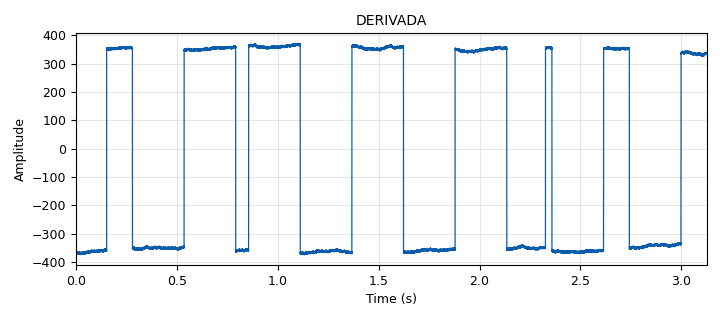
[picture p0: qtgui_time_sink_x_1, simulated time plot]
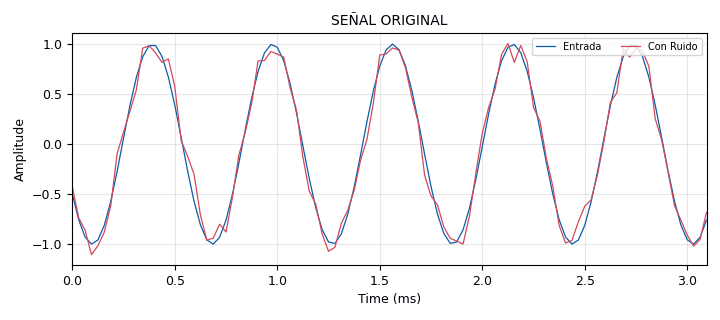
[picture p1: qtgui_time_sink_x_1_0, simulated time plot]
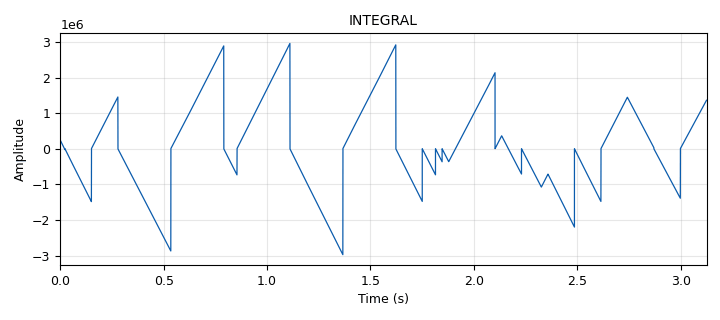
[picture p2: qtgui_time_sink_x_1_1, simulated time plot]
options:
  parameters:
    generate_options: qt_gui
    id: PRUEBA_I
    output_language: python
    title: Not titled yet
  states: {}

blocks:
- name: samp_rate
  id: variable
  parameters:
    value: '32000'
  states: {}
- name: Medidas
  id: qtgui_number_sink
  parameters:
    alias: '"Acumulador"'
    color2: ("blue", "red")
    graph_type: qtgui.NUM_GRAPH_HORIZ
    label1: Media
    label2: Media cuadràtica
    label3: RMS
    label4: Potencia Promedio
    label5: Desviaciòn Estàndar
    max: '10000'
    min: '-10000'
    nconnections: '5'
    type: float
  states: {state: disabled}
- name: Medidas_1
  id: qtgui_number_sink
  parameters:
    alias: '"Acumulador"'
    color2: ("blue", "red")
    graph_type: qtgui.NUM_GRAPH_HORIZ
    label1: Mediar
    label2: Media cuadràticar
    label3: RMSr
    label4: Potencia Promedior
    label5: Desviaciòn Estàndarr
    max: '10000'
    min: '-10000'
    name: '"1"'
    nconnections: '5'
    type: float
  states: {}
- name: analog_noise_source_x_0
  id: analog_noise_source_x
  parameters:
    amp: '0.1'
    noise_type: analog.GR_GAUSSIAN
    seed: '0'
    type: float
  states: {}
- name: analog_sig_source_x_0
  id: analog_sig_source_x
  parameters:
    amp: '1'
    freq: '3200'
    offset: '0'
    phase: '0'
    samp_rate: '60000'
    type: float
    waveform: analog.GR_COS_WAVE
  states: {}
- name: blocks_add_xx_0
  id: blocks_add_xx
  parameters:
    type: float
  states: {}
- name: blocks_throttle_0
  id: blocks_throttle
  parameters:
    samples_per_second: samp_rate
    type: float
  states: {state: disabled}
- name: blocks_vector_source_x_0
  id: blocks_vector_source_x
  parameters:
    repeat: 'True'
    type: float
    vector: (0,0,1)
  states: {state: disabled}
- name: epy_block_0
  id: epy_block
  parameters:
    _source_code: |
      """
      Embedded Python Blocks:

      Each time this file is saved, GRC will instantiate the first class it finds
      to get ports and parameters of your block. The arguments to __init__  will
      be the parameters. All of them are required to have default values!
      """

      import numpy as np
      from gnuradio import gr

      class blk (gr. sync_block ):
      	def __init__ ( self ) : # only default arguments here
      		gr. sync_block . __init__ (
      			self ,
      			name ="e_Acum ", # will show up in GRC
      			in_sig =[ np. float32 ],
      			out_sig =[ np. float32 ]
      		)
      	def work (self , input_items , output_items ):
      		x = input_items [0] # Senial de entrada .
      		y0 = output_items [0] # Senial acumulada
      		y0 [:] = np. cumsum (x)
      		#y0 [:] = len(x)
      		return len(y0)
  states: {}
- name: epy_block_0_0
  id: epy_block
  parameters:
    _source_code: |
      """
      Embedded Python Blocks:

      Each time this file is saved, GRC will instantiate the first class it finds
      to get ports and parameters of your block. The arguments to __init__  will
      be the parameters. All of them are required to have default values!
      """

      import numpy as np
      from gnuradio import gr
      class blk (gr. sync_block ):
      	def __init__ ( self ) : # only default arguments here
      		gr. sync_block . __init__ (
      			self ,
      			name ="Promedios_de_tiempos", # will show up in GRC
      			in_sig =[ np. float32 ],
      			out_sig =[ np. float32 ,np. float32 ,np. float32 ,np. float32 ,np. float32 ]
      		)
      		self . acum_anterior = 0
      		self . Ntotales = 0
      		self . acum_anterior1 = 0
      		self . acum_anterior2 = 0
      	def work (self , input_items , output_items ):
      		x = input_items [0] # Senial de entrada .
      		y0 = output_items [0] # Promedio de la senial
      		y1 = output_items [1] # Media de la senial
      		y2 = output_items [2] # RMS de la senial
      		y3 = output_items [3] # Potencia promedio de la senial
      		y4 = output_items [4] # Desviacion estandar de la senial
      		# Calculo del promedio
      		N = len (x)
      		self . Ntotales = self . Ntotales + N
      		acumulado = self . acum_anterior + np. cumsum (x)
      		self . acum_anterior = acumulado [N -1]
      		y0 [:]= acumulado / self . Ntotales
      		# Calculo de la media cuadratica
      		x2=np. multiply (x,x)
      		acumulado1 = self . acum_anterior1 + np. cumsum (x2)
      		self . acum_anterior1 = acumulado [N -1]
      		y1 [:] = acumulado1 / self . Ntotales
      		# Calculo de la RMS
      		y2 [:] = np. sqrt (y1)
      		# Calculo de la potencia promedio
      		y3 [:] = np. multiply (y2 ,y2)
      		# Calculo de la desviacion estandar
      		x3 = np. multiply (x-y0 ,x-y0)
      		acumulado2 = self . acum_anterior2 + np. cumsum (x3)
      		self . acum_anterior2 = acumulado2 [N -1]
      		y4 [:] = np. sqrt ( acumulado2 / self . Ntotales )
      		return len (x)
  states: {state: disabled}
- name: epy_block_0_0_0
  id: epy_block
  parameters:
    _source_code: |
      """
      Embedded Python Blocks:

      Each time this file is saved, GRC will instantiate the first class it finds
      to get ports and parameters of your block. The arguments to __init__  will
      be the parameters. All of them are required to have default values!
      """

      import numpy as np
      from gnuradio import gr
      class blk (gr. sync_block ):
      	def __init__ ( self ) : # only default arguments here
      		gr. sync_block . __init__ (
      			self ,
      			name ="Promedios_de_tiempos", # will show up in GRC
      			in_sig =[ np. float32 ],
      			out_sig =[ np. float32 ,np. float32 ,np. float32 ,np. float32 ,np. float32 ]
      		)
      		self . acum_anterior = 0
      		self . Ntotales = 0
      		self . acum_anterior1 = 0
      		self . acum_anterior2 = 0
      	def work (self , input_items , output_items ):
      		x = input_items [0] # Senial de entrada .
      		y0 = output_items [0] # Promedio de la senial
      		y1 = output_items [1] # Media de la senial
      		y2 = output_items [2] # RMS de la senial
      		y3 = output_items [3] # Potencia promedio de la senial
      		y4 = output_items [4] # Desviacion estandar de la senial
      		# Calculo del promedio
      		N = len (x)
      		self . Ntotales = self . Ntotales + N
      		acumulado = self . acum_anterior + np. cumsum (x)
      		self . acum_anterior = acumulado [N -1]
      		y0 [:]= acumulado / self . Ntotales
      		# Calculo de la media cuadratica
      		x2=np. multiply (x,x)
      		acumulado1 = self . acum_anterior1 + np. cumsum (x2)
      		self . acum_anterior1 = acumulado [N -1]
      		y1 [:] = acumulado1 / self . Ntotales
      		# Calculo de la RMS
      		y2 [:] = np. sqrt (y1)
      		# Calculo de la potencia promedio
      		y3 [:] = np. multiply (y2 ,y2)
      		# Calculo de la desviacion estandar
      		x3 = np. multiply (x-y0 ,x-y0)
      		acumulado2 = self . acum_anterior2 + np. cumsum (x3)
      		self . acum_anterior2 = acumulado2 [N -1]
      		y4 [:] = np. sqrt ( acumulado2 / self . Ntotales )
      		return len (x)
  states: {}
- name: epy_block_1_0
  id: epy_block
  parameters:
    _source_code: |
      """
      Embedded Python Blocks:

      Each time this file is saved, GRC will instantiate the first class it finds
      to get ports and parameters of your block. The arguments to __init__  will
      be the parameters. All of them are required to have default values!
      """

      import numpy as np
      from gnuradio import gr
      class blk (gr. sync_block ):
      	def __init__ ( self ) : # only default arguments here
      		gr. sync_block . __init__ (
      			self ,
      			name ="e_Diff" , # will show up in GRC
      			in_sig =[ np. float32 ],
      			out_sig =[ np. float32 ]
      		)
      		self . acum_anterior = 0
      			
      	def work (self , input_items , output_items ):
      		x = input_items [0] # Senial de entrada .
      		y0 = output_items [0] # Senial acumulada diferencial
      		N = len (x)
      		diff = np. cumsum (x) - self . acum_anterior
      		self . acum_anterior = diff [N -1]
      		y0 [:] = diff
      		return len(y0)
  states: {}
- name: qtgui_histogram_sink_x_0
  id: qtgui_histogram_sink_x
  parameters:
    bins: '100'
    size: '1024'
    type: float
    xmax: '1'
    xmin: '-1'
  states: {state: disabled}
- name: qtgui_number_sink_0
  id: qtgui_number_sink
  parameters:
    alias: '"Acumulador"'
    graph_type: qtgui.NUM_GRAPH_HORIZ
    label1: '"Acumulador"'
    label2: '"Diferenciador"'
    label3: '"Entrada"'
    max: '10000'
    min: '-10000'
    nconnections: '3'
    type: float
  states: {state: disabled}
- name: qtgui_time_sink_x_0
  id: qtgui_time_sink_x
  parameters:
    autoscale: 'True'
    color1: yellow
    label1: Acumulador
    label2: Diferenciador
    label3: Entrada
    nconnections: '3'
    size: '1024'
    srate: samp_rate
    type: float
  states: {state: disabled}
- name: qtgui_time_sink_x_1
  id: qtgui_time_sink_x
  parameters:
    autoscale: 'True'
    entags: 'False'
    name: '"DERIVADA"'
    size: '100000'
    srate: samp_rate
    type: float
    update_time: '0.5'
    ymin: '0'
  states: {}
- name: qtgui_time_sink_x_1_0
  id: qtgui_time_sink_x
  parameters:
    autoscale: 'True'
    entags: 'False'
    label1: Entrada
    label2: Con Ruido
    name: '"SEÑAL ORIGINAL"'
    nconnections: '2'
    size: '100'
    srate: samp_rate
    type: float
    update_time: '0.5'
    ymin: '0'
  states: {}
- name: qtgui_time_sink_x_1_1
  id: qtgui_time_sink_x
  parameters:
    autoscale: 'True'
    entags: 'False'
    name: '"INTEGRAL"'
    size: '100000'
    srate: samp_rate
    type: float
    update_time: '0.5'
    ymin: '0'
  states: {}
- name: rational_resampler_xxx_0
  id: rational_resampler_xxx
  parameters:
    decim: '1'
    interp: '1'
    type: fff
  states: {state: disabled}

connections:
- [analog_noise_source_x_0, '0', blocks_add_xx_0, '1']
- [analog_sig_source_x_0, '0', blocks_add_xx_0, '0']
- [analog_sig_source_x_0, '0', epy_block_0_0, '0']
- [analog_sig_source_x_0, '0', qtgui_number_sink_0, '2']
- [analog_sig_source_x_0, '0', qtgui_time_sink_x_0, '2']
- [analog_sig_source_x_0, '0', qtgui_time_sink_x_1_0, '0']
- [blocks_add_xx_0, '0', epy_block_1_0, '0']
- [blocks_add_xx_0, '0', qtgui_time_sink_x_1_0, '1']
- [blocks_add_xx_0, '0', rational_resampler_xxx_0, '0']
- [blocks_throttle_0, '0', qtgui_time_sink_x_1, '0']
- [blocks_vector_source_x_0, '0', epy_block_0_0, '0']
- [blocks_vector_source_x_0, '0', qtgui_time_sink_x_1_0, '0']
- [epy_block_0, '0', epy_block_0_0_0, '0']
- [epy_block_0, '0', qtgui_time_sink_x_1_1, '0']
- [epy_block_0_0, '0', Medidas, '0']
- [epy_block_0_0, '1', Medidas, '1']
- [epy_block_0_0, '2', Medidas, '2']
- [epy_block_0_0, '3', Medidas, '3']
- [epy_block_0_0, '4', Medidas, '4']
- [epy_block_0_0_0, '0', Medidas_1, '0']
- [epy_block_0_0_0, '1', Medidas_1, '1']
- [epy_block_0_0_0, '2', Medidas_1, '2']
- [epy_block_0_0_0, '3', Medidas_1, '3']
- [epy_block_0_0_0, '4', Medidas_1, '4']
- [epy_block_1_0, '0', blocks_throttle_0, '0']
- [epy_block_1_0, '0', epy_block_0, '0']
- [epy_block_1_0, '0', qtgui_time_sink_x_1, '0']
- [rational_resampler_xxx_0, '0', epy_block_0_0_0, '0']

metadata:
  file_format: 1
  grc_version: v3.11.0.0git-810-g1ecb8565
